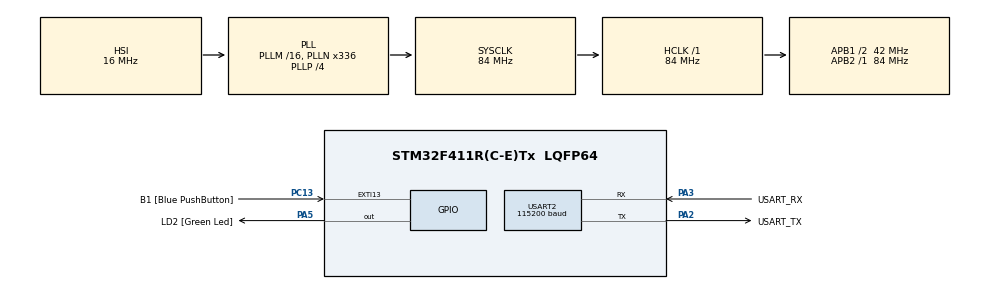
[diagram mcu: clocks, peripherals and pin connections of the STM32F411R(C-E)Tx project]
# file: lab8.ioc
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Mcu.Family=STM32F4
PC15-OSC32_OUT.Mode=LSE-External-Oscillator
RCC.CortexFreq_Value=84000000
PC13-ANTI_TAMP.GPIO_Label=B1 [Blue PushButton]
PA14.GPIO_Label=TCK
PH1\ -\ OSC_OUT.Mode=HSE-External-Clock-Source
RCC.APB1CLKDivider=RCC_HCLK_DIV2
PC14-OSC32_IN.Signal=RCC_OSC32_IN
NVIC.USART2_IRQn=true\:0\:0\:false\:false\:true\:true\:true
USART2.BaudRate=115200
RCC.SYSCLKSource=RCC_SYSCLKSOURCE_PLLCLK
ProjectManager.StackSize=0x400
PA13.Signal=SYS_JTMS-SWDIO
PA3.Mode=Asynchronous
PH0\ -\ OSC_IN.Mode=HSE-External-Clock-Source
PH0\ -\ OSC_IN.Signal=RCC_OSC_IN
ProjectManager.TargetToolchain=STM32CubeIDE
RCC.HCLKFreq_Value=84000000
RCC.APB2TimFreq_Value=84000000
PC15-OSC32_OUT.Signal=RCC_OSC32_OUT
RCC.AHBFreq_Value=84000000
PA5.Signal=GPIO_Output
RCC.HSE_VALUE=8000000
PH1\ -\ OSC_OUT.Signal=RCC_OSC_OUT
board=NUCLEO-F411RE
PC13-ANTI_TAMP.Signal=GPXTI13
RCC.VCOOutputFreq_Value=336000000
RCC.APB2Freq_Value=84000000
PC14-OSC32_IN.Mode=LSE-External-Oscillator
PA14.Mode=Serial_Wire
PA13.Mode=Serial_Wire
Mcu.Name=STM32F411R(C-E)Tx
PA2.Signal=USART2_TX
PA13.GPIO_Label=TMS
RCC.FLatency-AdvancedSettings=FLASH_LATENCY_2
RCC.48MHZClocksFreq_Value=84000000
PB3.Signal=SYS_JTDO-SWO
RCC.SYSCLKFreq_VALUE=84000000
Mcu.Package=LQFP64
PA5.GPIO_Label=LD2 [Green Led]
USART2.VirtualMode=VM_ASYNC
PC13-ANTI_TAMP.GPIO_ModeDefaultEXTI=GPIO_MODE_IT_FALLING
PA2.GPIO_Label=USART_TX
PA14.Signal=SYS_JTCK-SWCLK
ProjectManager.HeapSize=0x200
RCC.HSI_VALUE=16000000
RCC.PLLP=RCC_PLLP_DIV4
NVIC.PriorityGroup=NVIC_PRIORITYGROUP_0
RCC.PLLN=336
RCC.APB1TimFreq_Value=84000000
PA2.Mode=Asynchronous
RCC.APB1Freq_Value=42000000
PA3.GPIO_Label=USART_RX
PA3.Signal=USART2_RX
PB3.GPIO_Label=SWO

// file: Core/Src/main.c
/* USER CODE BEGIN Header */
/**
  ******************************************************************************
  * @file           : main.c
  * @brief          : Main program body
  ******************************************************************************
  * @attention
  *
  * <h2><center>&copy; Copyright (c) 2021 STMicroelectronics.
  * All rights reserved.</center></h2>
  *
  * This software component is licensed by ST under BSD 3-Clause license,
  * the "License"; You may not use this file except in compliance with the
  * License. You may obtain a copy of the License at:
  *                        opensource.org/licenses/BSD-3-Clause
  *
  ******************************************************************************
  */
/* USER CODE END Header */
#include "main.h"

/* USER CODE BEGIN Includes */
#include <stdio.h> //sprintf print u bon tua prae
#include <string.h> //strlen wat kwam yaw string

/* USER CODE END Includes */

UART_HandleTypeDef huart2;

/* USER CODE BEGIN PV */
char TxDataBuffer[32] = {0};
char RxDataBuffer[32] = {0};
/* USER CODE END PV */

void SystemClock_Config(void);
static void MX_GPIO_Init(void);
static void MX_USART2_UART_Init(void);
/* USER CODE BEGIN PFP */
void UARTReceiveAndResponsePolling();
int16_t UARTReceiveIT();
/* USER CODE END PFP */

/* USER CODE BEGIN 0 */
enum _StateDisplay
{
	StateDisplay_Start = 0,
	StateDisplay_MenuRoot_Print =10,
	StateDisplay_MenuRoot_WaitInput,
	StateDisplay_Menu1_Print =100,
	StateDisplay_Menu1_WaitInput,
	StateDisplay_Menu2_Print =200,
	StateDisplay_Menu2_WaitInput
};
/* USER CODE END 0 */

int main(void)
{

  /* MCU Configuration--------------------------------------------------------*/

  /* Reset of all peripherals, Initializes the Flash interface and the Systick. */
  HAL_Init();

  /* Configure the system clock */
  SystemClock_Config();

  /* Initialize all configured peripherals */
  MX_GPIO_Init();
  MX_USART2_UART_Init();
  /* USER CODE BEGIN 2 */

  uint8_t STATE_Display = 0;
  uint8_t Sclk[2] = {0};
  int16_t delay = 100;
  int16_t freq = 5;
  int8_t mode = 0;

  {
	  char temp[]="HELLO WORLD\r\n";

	  HAL_UART_Transmit(&huart2, (uint8_t*)temp,strlen(temp),10);
  }
  /* USER CODE END 2 */

  /* Infinite loop */
  /* USER CODE BEGIN WHILE */
  while (1)
  {
	 // UARTReceiveAndResponsePolling(); //tua yang tee mai dee
	  HAL_UART_Receive_IT(&huart2, (uint8_t*)RxDataBuffer, 32);
	  //HAL_UART_Receive(&huart2, (uint8_t*)RxDataBuffer, 32, 10);
	  int16_t inputchar = UARTReceiveIT();

	  /*if(inputchar!=-1) //if = -1 = mee kor moon mhai kaw ma
	  	  {
	  		  sprintf(TxDataBuffer,"ReceiveChar: [%c]\r\n",inputchar);
	  		  HAL_UART_Transmit(&huart2, (uint8_t*)TxDataBuffer, strlen(TxDataBuffer), 1000);
	  	  }*/
	  switch (STATE_Display)
	  {
	  case StateDisplay_Start:
	        STATE_Display = StateDisplay_MenuRoot_Print;
	        break;
	  case StateDisplay_MenuRoot_Print: //display one time state
	  	  {
	  		  char temp[]="************************\r\n Press 0 to enter LED Control\r\n Press 1 to enter Button status\r\n************************\r\n";
	  		  HAL_UART_Transmit(&huart2, (uint8_t*)temp,strlen(temp),10);
	  	  }
	        STATE_Display = StateDisplay_MenuRoot_WaitInput;
	        break;
	  case StateDisplay_MenuRoot_WaitInput:
		  switch(inputchar)
		  {
		  case -1:
			  //No input
			  break;
		  case '0':
	  	  	  {
	  	  		  char temp[]="You press [0]\r\n";
	  	  		  HAL_UART_Transmit(&huart2, (uint8_t*)temp,strlen(temp),10);
	  	  	  }
	  	  	  STATE_Display = StateDisplay_Menu1_Print;
			  break;
		  case '1':
		  	  {
		  	  	  char temp[]="You press [1]\r\n";
		  	  	  HAL_UART_Transmit(&huart2, (uint8_t*)temp,strlen(temp),10);
		  	  }
		  	  STATE_Display = StateDisplay_Menu2_Print;
			  break;
		  default:
			  if(inputchar!=-1) //if = -1 = mee kor moon mhai kaw ma
			  	  {
			  		  sprintf(TxDataBuffer,"You press [%c]\r\n",inputchar);
			  		  HAL_UART_Transmit(&huart2, (uint8_t*)TxDataBuffer, strlen(TxDataBuffer), 1000);
			  		{
			  			char temp[]="Pls press 0 or 1\r\n";
			  			HAL_UART_Transmit(&huart2, (uint8_t*)temp,strlen(temp),10);
			  		}

			  	  }
			  inputchar = -1;
		  	  STATE_Display = StateDisplay_MenuRoot_WaitInput;
		  	  break;
		  }
		  break;

	  case StateDisplay_Menu1_Print:
		  	  {
		  		 char temp[]="************************\r\nWelcome to LED control menu\r\n Press a: Speed up 1 Hz \r\n";
		  	  	 HAL_UART_Transmit(&huart2, (uint8_t*)temp,strlen(temp),10);
		  	  	 char temp2[] = " Press s: Speed down 1 Hz\r\n Press d: On/Off\r\n Press x: Back\r\n************************\r\n";
		  	  	 HAL_UART_Transmit(&huart2, (uint8_t*)temp2,strlen(temp2),10);
		  	  }
		  	  STATE_Display = StateDisplay_Menu1_WaitInput;
		  	  break;

	  case StateDisplay_Menu1_WaitInput:
			  switch(inputchar)
			  {
			  case -1:
			  	  //No input
				  break;
			  case 'a':
				  if(mode==0)
				  {
				  freq+=1;
				  delay=1000/(freq*2);
		  	  	  {
		  	  		  char temp[]="You press [a]\r\nSpeed Up\r\n";
		  	  		  HAL_UART_Transmit(&huart2, (uint8_t*)temp,strlen(temp),10);
		  	  	  }
		  	  	  {
					  sprintf(TxDataBuffer,"Now frequency is [%d] Hz\r\n",freq);
					  HAL_UART_Transmit(&huart2, (uint8_t*)TxDataBuffer, strlen(TxDataBuffer), 1000);
		  	  	  }
				  sprintf(TxDataBuffer,"delay [%d]\r\n",delay);
				  HAL_UART_Transmit(&huart2, (uint8_t*)TxDataBuffer, strlen(TxDataBuffer), 1000);
				  }

		  	  	  STATE_Display = StateDisplay_Menu1_WaitInput;
				  break;
			  case 's':
				  if(mode==0)
				  {
			  	  {
			  	  	  char temp[]="You press [s]\r\nSpeed down\r\n";
			  	  	  HAL_UART_Transmit(&huart2, (uint8_t*)temp,strlen(temp),10);
			  	  }
				  if(freq!=0)
				  {
					  freq-=1;
					  if(freq!=0)
					  {
						  delay=1000/(freq*2);
					  }
				  }
				  if(freq==0)
				  {
					  char temp[]="Can't decrease more frequency\r\n";
					  HAL_UART_Transmit(&huart2, (uint8_t*)temp,strlen(temp),10);
				  }
				  sprintf(TxDataBuffer,"Now frequency is [%d] Hz\r\n",freq);
				  HAL_UART_Transmit(&huart2, (uint8_t*)TxDataBuffer, strlen(TxDataBuffer), 1000);
				  sprintf(TxDataBuffer,"delay [%d] \r\n",delay);
				  HAL_UART_Transmit(&huart2, (uint8_t*)TxDataBuffer, strlen(TxDataBuffer), 1000);
				  }

			  	  STATE_Display = StateDisplay_Menu1_WaitInput;
				  break;
			  case 'd':
			  	  {
			  	  	  char temp[]="You press [d]\r\n";
			  	  	  HAL_UART_Transmit(&huart2, (uint8_t*)temp,strlen(temp),10);
			  	  }
			  	  if(mode==0)
			  	  {
			  		  mode=1;
			  		{
			  			char temp[]="LED Off\r\n";
			  			HAL_UART_Transmit(&huart2, (uint8_t*)temp,strlen(temp),10);
			  		}
			  	  }
			  	  else
			  	  {
			  		  mode=0;
				  		{
				  			char temp[]="LED On\r\n";
				  			HAL_UART_Transmit(&huart2, (uint8_t*)temp,strlen(temp),10);
				  		}
			  	  }
			  	//add something make led con
			  	  STATE_Display = StateDisplay_Menu1_WaitInput;
				  break;
			  case 'x':
			  	  {
			  	  	  char temp[]="You press [x]\r\n";
			  	  	  HAL_UART_Transmit(&huart2, (uint8_t*)temp,strlen(temp),10);
			  	  }
			  	//add something make led con
			  	  STATE_Display = StateDisplay_MenuRoot_Print;
				  break;
			  default:
				  if(inputchar!=-1) //if = -1 = mee kor moon mhai kaw ma
				  {
				  	sprintf(TxDataBuffer,"You press [%c]\r\nPls press button in menu\r\n",inputchar);
				  	HAL_UART_Transmit(&huart2, (uint8_t*)TxDataBuffer, strlen(TxDataBuffer), 1000);

				  }
				  inputchar = -1;
				  STATE_Display = StateDisplay_Menu1_WaitInput;
			  	  break;
			  }
			  break;

		  case StateDisplay_Menu2_Print:
	  	  	  {
	  	  		  char temp[]="************************\r\nWelcome to Button status menu\r\n Press x: back\r\n************************\r\n";
	  	  		  HAL_UART_Transmit(&huart2, (uint8_t*)temp,strlen(temp),10);
	  	  	  }
	  	  	  STATE_Display = StateDisplay_Menu2_WaitInput;
	  	  break;

		  case StateDisplay_Menu2_WaitInput:
			  switch(inputchar)
			  {
			  case -1:
				  Sclk[0] = HAL_GPIO_ReadPin(GPIOC, GPIO_PIN_13);
				  if(Sclk[0]!=Sclk[1])
				  {
					  if(Sclk[0] == SET)
					  {
						  {
						  	char temp[]="Button status: Unpress\r\n";
						  	HAL_UART_Transmit(&huart2, (uint8_t*)temp,strlen(temp),10);
						  }
					  }
					  else if(Sclk[0]==RESET)
					  {
						  {
						  	char temp[]="Button status: Press\r\n";
						  	HAL_UART_Transmit(&huart2, (uint8_t*)temp,strlen(temp),10);
						  }
					  }
				  }
				  else
				  {
					  //Do nothing
				  }
				  Sclk[1]=Sclk[0];
				  STATE_Display = StateDisplay_Menu2_WaitInput;
				  break;
			  case 'x':
			  	  {
			  		  char temp[]="You press [x]\r\n";
			  		  HAL_UART_Transmit(&huart2, (uint8_t*)temp,strlen(temp),10);
			  	  }
			  		//add something make led con
			  	  STATE_Display = StateDisplay_MenuRoot_Print;
			  	  break;
			  default:
			  	if(inputchar!=-1) //if = -1 = mee kor moon mhai kaw ma
			  	{
			  		sprintf(TxDataBuffer,"You press [%c]\r\nPls press button in menu\r\n",inputchar);
			  		HAL_UART_Transmit(&huart2, (uint8_t*)TxDataBuffer, strlen(TxDataBuffer), 1000);
			  	}
			  	inputchar = -1;
			  	STATE_Display = StateDisplay_Menu2_WaitInput;
			  	break;
			  }

	  }
	  //int16_t inputchar = UARTReceiveIT();
	  /*if(inputchar!=-1) //if = -1 = mee kor moon mhai kaw ma
	  {
		  sprintf(TxDataBuffer,"ReceiveChar: [%c]\r\n",inputchar);
		  HAL_UART_Transmit(&huart2, (uint8_t*)TxDataBuffer, strlen(TxDataBuffer), 1000);
	  }*/

	  //simulate work load
	  if(freq!=0&mode ==0)
	  {
		  HAL_Delay(delay);
		  HAL_GPIO_TogglePin(LD2_GPIO_Port, LD2_Pin);
	  }
	  else if(mode==1)
	  {
		  HAL_GPIO_WritePin(LD2_GPIO_Port, LD2_Pin, RESET);
	  }
    /* USER CODE END WHILE */

  }
}

void SystemClock_Config(void)
{
  RCC_OscInitTypeDef RCC_OscInitStruct = {0};
  RCC_ClkInitTypeDef RCC_ClkInitStruct = {0};

  /** Configure the main internal regulator output voltage
  */
  __HAL_RCC_PWR_CLK_ENABLE();
  __HAL_PWR_VOLTAGESCALING_CONFIG(PWR_REGULATOR_VOLTAGE_SCALE1);
  /** Initializes the RCC Oscillators according to the specified parameters
  * in the RCC_OscInitTypeDef structure.
  */
  RCC_OscInitStruct.OscillatorType = RCC_OSCILLATORTYPE_HSI;
  RCC_OscInitStruct.HSIState = RCC_HSI_ON;
  RCC_OscInitStruct.HSICalibrationValue = RCC_HSICALIBRATION_DEFAULT;
  RCC_OscInitStruct.PLL.PLLState = RCC_PLL_ON;
  RCC_OscInitStruct.PLL.PLLSource = RCC_PLLSOURCE_HSI;
  RCC_OscInitStruct.PLL.PLLM = 16;
  RCC_OscInitStruct.PLL.PLLN = 336;
  RCC_OscInitStruct.PLL.PLLP = RCC_PLLP_DIV4;
  RCC_OscInitStruct.PLL.PLLQ = 4;
  if (HAL_RCC_OscConfig(&RCC_OscInitStruct) != HAL_OK)
  {
    Error_Handler();
  }
  /** Initializes the CPU, AHB and APB buses clocks
  */
  RCC_ClkInitStruct.ClockType = RCC_CLOCKTYPE_HCLK|RCC_CLOCKTYPE_SYSCLK
                              |RCC_CLOCKTYPE_PCLK1|RCC_CLOCKTYPE_PCLK2;
  RCC_ClkInitStruct.SYSCLKSource = RCC_SYSCLKSOURCE_PLLCLK;
  RCC_ClkInitStruct.AHBCLKDivider = RCC_SYSCLK_DIV1;
  RCC_ClkInitStruct.APB1CLKDivider = RCC_HCLK_DIV2;
  RCC_ClkInitStruct.APB2CLKDivider = RCC_HCLK_DIV1;

  if (HAL_RCC_ClockConfig(&RCC_ClkInitStruct, FLASH_LATENCY_2) != HAL_OK)
  {
    Error_Handler();
  }
}

static void MX_USART2_UART_Init(void)
{

  huart2.Instance = USART2;
  huart2.Init.BaudRate = 115200;
  huart2.Init.WordLength = UART_WORDLENGTH_8B;
  huart2.Init.StopBits = UART_STOPBITS_1;
  huart2.Init.Parity = UART_PARITY_NONE;
  huart2.Init.Mode = UART_MODE_TX_RX;
  huart2.Init.HwFlowCtl = UART_HWCONTROL_NONE;
  huart2.Init.OverSampling = UART_OVERSAMPLING_16;
  if (HAL_UART_Init(&huart2) != HAL_OK)
  {
    Error_Handler();
  }

}

static void MX_GPIO_Init(void)
{
  GPIO_InitTypeDef GPIO_InitStruct = {0};

  /* GPIO Ports Clock Enable */
  __HAL_RCC_GPIOC_CLK_ENABLE();
  __HAL_RCC_GPIOH_CLK_ENABLE();
  __HAL_RCC_GPIOA_CLK_ENABLE();
  __HAL_RCC_GPIOB_CLK_ENABLE();

  /*Configure GPIO pin Output Level */
  HAL_GPIO_WritePin(LD2_GPIO_Port, LD2_Pin, GPIO_PIN_RESET);

  /*Configure GPIO pin : B1_Pin */
  GPIO_InitStruct.Pin = B1_Pin;
  GPIO_InitStruct.Mode = GPIO_MODE_IT_FALLING;
  GPIO_InitStruct.Pull = GPIO_NOPULL;
  HAL_GPIO_Init(B1_GPIO_Port, &GPIO_InitStruct);

  /*Configure GPIO pin : LD2_Pin */
  GPIO_InitStruct.Pin = LD2_Pin;
  GPIO_InitStruct.Mode = GPIO_MODE_OUTPUT_PP;
  GPIO_InitStruct.Pull = GPIO_NOPULL;
  GPIO_InitStruct.Speed = GPIO_SPEED_FREQ_LOW;
  HAL_GPIO_Init(LD2_GPIO_Port, &GPIO_InitStruct);

}

/* USER CODE BEGIN 4 */
void UARTReceiveAndResponsePolling()
{
	char Receive[32]={0};
	HAL_UART_Receive(&huart2, (uint8_t*) Receive, 32, 1000); //tha arn kob thung 32 tua cha return bab mai roh 1000 ms
	sprintf(TxDataBuffer,"Received:[%s]\r\n",Receive);
	HAL_UART_Transmit(&huart2, (uint8_t*)TxDataBuffer, strlen(TxDataBuffer), 1000);
}

int16_t UARTReceiveIT()
{
	static uint32_t dataPos = 0;
	int16_t data = -1;
	if (huart2.RxXferSize - huart2.RxXferCount != dataPos) //mhee kor moon mhai khau ma
	{
		data = RxDataBuffer[dataPos];
		dataPos = (dataPos + 1)%huart2.RxXferSize;
	}
	return data;
}

void HAL_UART_RxCpltCallback(UART_HandleTypeDef *huart)
{
	//sprintf(TxDataBuffer,"Received:[%s]\r\n",RxDataBuffer);
	//HAL_UART_Transmit_IT(&huart2, (uint8_t*)TxDataBuffer, strlen(TxDataBuffer));
}

/* USER CODE END 4 */

void Error_Handler(void)
{
  __disable_irq();
  while (1)
  {
  }
}

/************************ (C) COPYRIGHT STMicroelectronics *****END OF FILE****/
